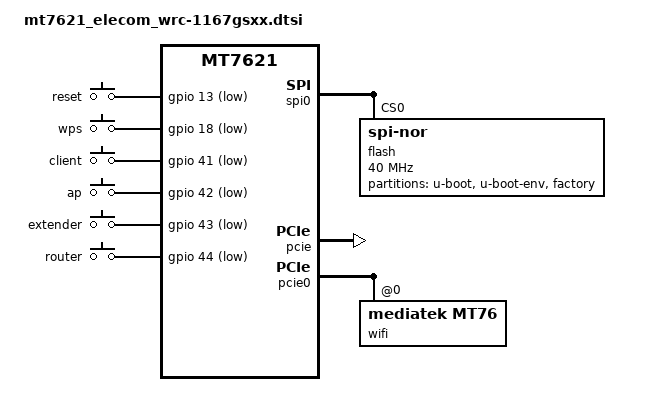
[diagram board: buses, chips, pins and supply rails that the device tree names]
// SPDX-License-Identifier: GPL-2.0-or-later OR MIT

#include "mt7621.dtsi"

#include <dt-bindings/gpio/gpio.h>
#include <dt-bindings/input/input.h>

/ {
	aliases {
		led-boot = &led_power_green;
		led-failsafe = &led_power_green;
		led-running = &led_power_green;
		led-upgrade = &led_power_green;
	};

	keys {
		compatible = "gpio-keys";

		reset {
			label = "reset";
			gpios = <&gpio 13 GPIO_ACTIVE_LOW>;
			linux,code = <KEY_RESTART>;
		};

		wps {
			label = "wps";
			gpios = <&gpio 18 GPIO_ACTIVE_LOW>;
			linux,code = <KEY_WPS_BUTTON>;
		};

		client {
			label = "client";
			gpios = <&gpio 41 GPIO_ACTIVE_LOW>;
			linux,code = <BTN_0>;
			linux,input-type = <EV_SW>;
		};

		ap {
			label = "ap";
			gpios = <&gpio 42 GPIO_ACTIVE_LOW>;
			linux,code = <BTN_0>;
			linux,input-type = <EV_SW>;
		};

		extender {
			label = "extender";
			gpios = <&gpio 43 GPIO_ACTIVE_LOW>;
			linux,code = <BTN_0>;
			linux,input-type = <EV_SW>;
		};

		router {
			label = "router";
			gpios = <&gpio 44 GPIO_ACTIVE_LOW>;
			linux,code = <BTN_0>;
			linux,input-type = <EV_SW>;
		};
	};
};

&switch0 {
	ports {
		wan: port@0 {
			status = "okay";
			label = "wan";
		};

		port@1 {
			status = "okay";
			label = "lan4";
		};

		port@2 {
			status = "okay";
			label = "lan3";
		};

		port@3 {
			status = "okay";
			label = "lan2";
		};

		port@4 {
			status = "okay";
			label = "lan1";
		};
	};
};

&spi0 {
	status = "okay";

	flash@0 {
		compatible = "jedec,spi-nor";
		reg = <0>;
		spi-max-frequency = <40000000>;

		partitions: partitions {
			compatible = "fixed-partitions";
			#address-cells = <1>;
			#size-cells = <1>;

			partition@0 {
				label = "u-boot";
				reg = <0x0 0x30000>;
				read-only;
			};

			partition@30000 {
				label = "u-boot-env";
				reg = <0x30000 0x10000>;
				read-only;
			};

			factory: partition@40000 {
				label = "factory";
				reg = <0x40000 0x10000>;
				read-only;
			};
		};
	};
};

&pcie {
	status = "okay";
};

&pcie0 {
	wifi: wifi@0,0 {
		compatible = "mediatek,mt76";
		reg = <0x0000 0 0 0 0>;
		mediatek,mtd-eeprom = <&factory 0x0>;
	};
};

&state_default {
	gpio {
		groups = "i2c", "uart3", "jtag", "wdt", "sdhci";
		function = "gpio";
	};
};

&xhci {
	status = "disabled";
};
